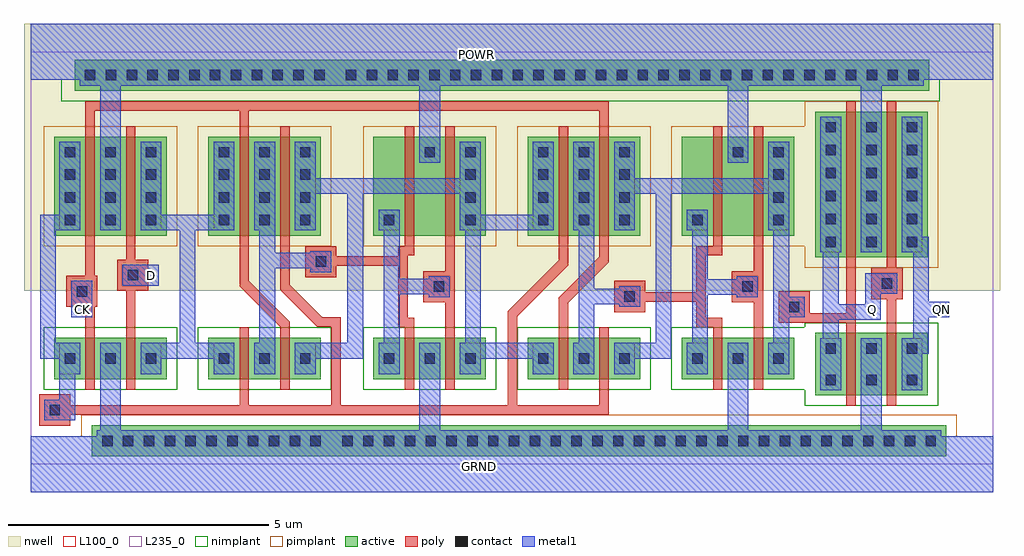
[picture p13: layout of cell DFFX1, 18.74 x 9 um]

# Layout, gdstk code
import gdstk
lib = gdstk.Library(unit=1e-6, precision=1e-09)
def R(c, l, rs):  # rectangles x0, y0, x1, y1
    for r in rs: c.add(gdstk.rectangle(r[:2], r[2:], *l))
def A(c, l, x, y, w, h, nx, ny, dx, dy):  # array of equal rectangles
    R(c, l, [(x+i*dx, y+j*dy, x+i*dx+w, y+j*dy+h) for i in range(nx) for j in range(ny)])
def P(c, l, *ps):  # polygons
    for p in ps: c.add(gdstk.Polygon(p, *l))
active = (1, 0)
nwell = (2, 0)
poly = (3, 0)
nimplant = (4, 0)
pimplant = (5, 0)
contact = (6, 0)
metal1 = (7, 0)
L100_0 = (100, 0)
L235_0 = (235, 0)

dffx1 = lib.new_cell('DFFX1')
A(dffx1, active, 15.06, 1.32, 0.6, 1.2, 3, 1, 0.78, 0)
A(dffx1, active, 0.45, 1.63, 0.6, 0.8, 3, 1, 0.78, 0)
A(dffx1, active, 3.41, 1.63, 0.6, 0.8, 3, 1, 0.78, 0)
A(dffx1, active, 6.58, 1.63, 0.6, 0.8, 3, 1, 0.78, 0)
A(dffx1, active, 9.54, 1.63, 0.6, 0.8, 3, 1, 0.78, 0)
A(dffx1, active, 12.5, 1.63, 0.6, 0.8, 3, 1, 0.78, 0)
A(dffx1, active, 15.06, 3.97, 0.6, 2.8, 3, 1, 0.78, 0)
A(dffx1, active, 0.45, 4.39, 0.6, 1.9, 3, 1, 0.78, 0)
A(dffx1, active, 3.41, 4.39, 0.6, 1.9, 3, 1, 0.78, 0)
A(dffx1, active, 6.58, 4.39, 0.6, 1.9, 3, 1, 0.78, 0)
A(dffx1, active, 9.54, 4.39, 0.6, 1.9, 3, 1, 0.78, 0)
A(dffx1, active, 12.5, 4.39, 0.6, 1.9, 3, 1, 0.78, 0)
R(dffx1, active, [(1.17,0.15,17.58,0.75), (15.66,1.32,15.84,2.52), (16.44,1.32,16.62,2.52), (1.05,1.63,1.23,2.43), (1.83,1.63,2.01,2.43), (4.01,1.63,4.19,2.43), (4.79,1.63,4.97,2.43), (7.18,1.63,7.36,2.43), (7.96,1.63,8.14,2.43), (10.14,1.63,10.32,2.43), (10.92,1.63,11.1,2.43), (13.1,1.63,13.28,2.43), (13.88,1.63,14.06,2.43), (15.66,3.97,15.84,6.77), (16.44,3.97,16.62,6.77), (1.05,4.39,1.23,6.29), (1.83,4.39,2.01,6.29), (4.01,4.39,4.19,6.29), (4.79,4.39,4.97,6.29), (7.18,4.39,7.36,6.29), (7.96,4.39,8.14,6.29), (10.14,4.39,10.32,6.29), (10.92,4.39,11.1,6.29), (13.1,4.39,13.28,6.29), (13.88,4.39,14.06,6.29), (0.84,7.17,17.25,7.77)])
R(dffx1, nwell, [(-0.13,3.33,18.61,8.46)])
R(dffx1, poly, [(15.66,1.12,15.84,1.32), (15.66,1.12,15.84,2.72), (16.44,1.12,16.62,1.32), (16.44,1.12,16.62,2.72), (1.05,1.43,1.23,2.63), (1.05,1.43,1.23,1.63), (1.83,1.43,2.01,2.63), (1.83,1.43,2.01,1.63), (4.01,1.43,4.19,2.63), (4.01,1.43,4.19,1.63), (4.79,1.43,4.97,2.63), (4.79,1.43,4.97,1.63), (7.18,1.43,7.36,2.63), (7.18,1.43,7.36,1.63), (7.96,1.43,8.14,2.63), (7.96,1.43,8.14,1.63), (10.14,1.43,10.32,2.63), (10.14,1.43,10.32,1.63), (10.92,1.43,11.1,2.63), (10.92,1.43,11.1,1.63), (13.1,1.43,13.28,2.63), (13.1,1.43,13.28,1.63), (13.88,1.43,14.06,2.63), (13.88,1.43,14.06,1.63), (1.05,2.43,1.23,2.63), (1.83,2.43,2.01,2.63), (4.01,2.43,4.19,2.63), (4.79,2.43,4.97,2.63), (7.18,2.43,7.36,2.63), (7.96,2.43,8.14,2.63), (10.14,2.43,10.32,2.63), (10.92,2.43,11.1,2.63), (13.1,2.43,13.28,2.63), (13.88,2.43,14.06,2.63), (15.66,2.52,15.84,2.72), (16.44,2.52,16.62,2.72), (14.36,2.72,14.96,3.32), (16.14,3.17,16.74,3.77), (15.66,3.77,15.84,3.97), (15.66,3.77,15.84,6.97), (16.44,3.77,16.62,3.97), (16.44,3.77,16.62,6.97), (1.05,4.19,1.23,4.39), (1.05,4.19,1.23,6.49), (1.83,4.19,2.01,4.39), (1.83,4.19,2.01,6.49), (4.01,4.19,4.19,4.39), (4.01,4.19,4.19,6.49), (4.79,4.19,4.97,4.39), (4.79,4.19,4.97,6.49), (7.18,4.19,7.36,4.39), (7.18,4.19,7.36,6.49), (7.96,4.19,8.14,4.39), (7.96,4.19,8.14,6.49), (10.14,4.19,10.32,4.39), (10.14,4.19,10.32,6.49), (10.92,4.19,11.1,4.39), (10.92,4.19,11.1,6.49), (13.1,4.19,13.28,4.39), (13.1,4.19,13.28,6.49), (13.88,4.19,14.06,4.39), (13.88,4.19,14.06,6.49), (1.05,6.29,1.23,6.49), (1.83,6.29,2.01,6.49), (4.01,6.29,4.19,6.49), (4.79,6.29,4.97,6.49), (7.18,6.29,7.36,6.49), (7.96,6.29,8.14,6.49), (10.14,6.29,10.32,6.49), (10.92,6.29,11.1,6.49), (13.1,6.29,13.28,6.49), (13.88,6.29,14.06,6.49), (15.66,6.77,15.84,6.97), (16.44,6.77,16.62,6.97)])
P(dffx1, poly, [(2.26,3.93),(2.01,3.93),(2.01,4.19),(1.83,4.19),(1.83,3.93),(1.66,3.93),(1.66,3.33),(1.83,3.33),(1.83,2.43),(2.01,2.43),(2.01,3.33),(2.26,3.33)],
  [(1.28,3.62),(1.23,3.62),(1.23,4.19),(1.05,4.19),(1.05,3.62),(0.68,3.62),(0.68,3.02),(1.05,3.02),(1.05,2.43),(1.23,2.43),(1.23,3.02),(1.28,3.02)],
  [(11.1,4.2),(10.92,4.2),(10.92,3.98),(10.14,3.2),(10.14,2.63),(10.32,2.63),(10.32,3.1),(11.1,3.88)],
  [(11.1,6.97),(1.05,6.97),(1.05,6.49),(1.23,6.49),(1.23,6.79),(4.01,6.79),(4.01,6.49),(4.19,6.49),(4.19,6.79),(10.92,6.79),(10.92,6.49),(11.1,6.49)],
  [(4.97,2.74),(4.19,3.52),(4.19,4.19),(4.01,4.19),(4.01,3.42),(4.79,2.64),(4.79,2.63),(4.8,2.63),(4.83,2.6),(4.86,2.63),(4.97,2.63)],
  [(8.14,4.19),(7.96,4.19),(7.96,3.71),(7.54,3.71),(7.54,3.11),(7.96,3.11),(7.96,2.63),(8.14,2.63)],
  [(13.28,2.81),(12.96,2.81),(12.96,4.01),(13.28,4.01),(13.28,4.19),(12.78,4.19),(12.78,3.3),(11.8,3.3),(11.8,3.52),(11.2,3.52),(11.2,2.92),(11.8,2.92),(11.8,3.12),(12.78,3.12),(12.78,2.63),(13.28,2.63)],
  [(7.36,2.81),(7.24,2.81),(7.24,4.01),(7.36,4.01),(7.36,4.19),(7.06,4.19),(7.06,3.99),(5.87,3.99),(5.87,4.19),(5.27,4.19),(5.27,3.59),(5.87,3.59),(5.87,3.81),(7.06,3.81),(7.06,2.63),(7.36,2.63)],
  [(11.1,1.43),(10.92,1.43),(10.92,1.13),(9.34,1.13),(9.34,2.84),(10.32,3.82),(10.32,4.19),(10.14,4.19),(10.14,3.92),(9.16,2.94),(9.16,1.13),(5.95,1.13),(5.95,2.82),(5.6,2.82),(4.97,3.45),(4.97,4.2),(4.79,4.2),(4.79,3.35),(5.5,2.64),(5.77,2.64),(5.77,1.13),(4.19,1.13),(4.19,1.43),(4.01,1.43),(4.01,1.13),(0.76,1.13),(0.76,1.34),(0.16,1.34),(0.16,0.74),(0.76,0.74),(0.76,0.95),(11.1,0.95)],
  [(14.06,4.19),(13.88,4.19),(13.88,3.71),(13.46,3.71),(13.46,3.11),(13.88,3.11),(13.88,2.63),(14.06,2.63)])
A(dffx1, nimplant, 6.38, 1.43, 2.56, 1.2, 3, 1, 2.96, 0)
R(dffx1, nimplant, [(14.86,1.12,17.42,2.72), (0.25,1.43,2.81,2.63), (3.21,1.43,5.77,2.63)])
P(dffx1, nimplant, [(18.48,8.46),(0,8.46),(0,7.38),(0.59,7.38),(0.59,6.97),(17.45,6.97),(17.45,7.38),(18.48,7.38)])
A(dffx1, pimplant, 6.38, 4.19, 2.56, 2.3, 3, 1, 2.96, 0)
R(dffx1, pimplant, [(14.86,3.77,17.42,6.97), (0.25,4.19,2.81,6.49), (3.21,4.19,5.77,6.49)])
P(dffx1, pimplant, [(18.48,0.54),(17.78,0.54),(17.78,0.95),(0.97,0.95),(0.97,0.54),(0,0.54),(0,-0.54),(18.48,-0.54)])
A(dffx1, contact, 1.37, 0.35, 0.2, 0.2, 11, 1, 0.4, 0)
A(dffx1, contact, 5.98, 0.35, 0.2, 0.2, 29, 1, 0.4, 0)
A(dffx1, contact, 15.26, 1.52, 0.2, 0.2, 3, 2, 0.78, 0.6)
A(dffx1, contact, 0.65, 1.93, 0.2, 0.2, 3, 2, 0.78, 2.66)
A(dffx1, contact, 3.61, 1.93, 0.2, 0.2, 3, 2, 0.78, 2.66)
A(dffx1, contact, 6.78, 1.93, 0.2, 0.2, 3, 1, 0.78, 0)
A(dffx1, contact, 9.74, 1.93, 0.2, 0.2, 3, 2, 0.78, 2.66)
A(dffx1, contact, 12.7, 1.93, 0.2, 0.2, 3, 1, 0.78, 0)
A(dffx1, contact, 15.26, 4.17, 0.2, 0.2, 3, 6, 0.78, 0.44)
A(dffx1, contact, 8.34, 4.59, 0.2, 0.2, 1, 3, 0, 0.435)
A(dffx1, contact, 14.26, 4.59, 0.2, 0.2, 1, 3, 0, 0.435)
A(dffx1, contact, 0.65, 5.025, 0.2, 0.2, 3, 2, 0.78, 0.435)
A(dffx1, contact, 3.61, 5.025, 0.2, 0.2, 3, 2, 0.78, 0.435)
A(dffx1, contact, 9.74, 5.025, 0.2, 0.2, 3, 2, 0.78, 0.435)
A(dffx1, contact, 0.65, 5.89, 0.2, 0.2, 3, 1, 0.78, 0)
A(dffx1, contact, 3.61, 5.89, 0.2, 0.2, 3, 1, 0.78, 0)
A(dffx1, contact, 9.74, 5.89, 0.2, 0.2, 3, 1, 0.78, 0)
A(dffx1, contact, 1.04, 7.37, 0.2, 0.2, 12, 1, 0.4, 0)
A(dffx1, contact, 6.05, 7.37, 0.2, 0.2, 28, 1, 0.4, 0)
R(dffx1, contact, [(0.36,0.94,0.56,1.14), (14.56,2.92,14.76,3.12), (11.4,3.12,11.6,3.32), (0.88,3.22,1.08,3.42), (7.74,3.31,7.94,3.51), (13.66,3.31,13.86,3.51), (16.34,3.37,16.54,3.57), (1.86,3.53,2.06,3.73), (5.47,3.79,5.67,3.99), (6.78,4.59,6.98,4.79), (12.7,4.59,12.9,4.79), (7.56,5.89,7.76,6.09), (8.34,5.89,8.54,6.09), (13.48,5.89,13.68,6.09), (14.26,5.89,14.46,6.09)])
R(dffx1, metal1, [(0,-0.54,18.48,0.54), (14.26,2.33,14.56,4.49), (0.78,2.82,1.18,3.52), (0.84,2.82,1.14,3.12), (14.46,2.82,14.86,3.22), (16.02,2.82,16.32,3.12), (17.34,2.82,17.64,3.12), (16.24,3.27,16.64,3.67), (1.76,3.43,2.46,3.83), (2.16,3.48,2.46,3.78), (0,7.38,18.48,8.46)])
P(dffx1, metal1, [(13.96,3.61),(13.56,3.61),(13.56,3.55),(13,3.55),(13,4.49),(12.7,4.49),(12.7,2.33),(13,2.33),(13,3.25),(13.56,3.25),(13.56,3.21),(13.96,3.21)],
  [(14.16,5.49),(11.6,5.49),(11.6,5.19),(12,5.19),(12,2.33),(11.6,2.33),(11.6,2.03),(12.3,2.03),(12.3,5.19),(14.16,5.19)],
  [(3.51,2.33),(3.16,2.33),(3.16,4.49),(3.51,4.49),(3.51,4.79),(2.51,4.79),(2.51,4.49),(2.86,4.49),(2.86,2.33),(2.51,2.33),(2.51,2.03),(3.51,2.03)],
  [(17.15,7.67),(0.94,7.67),(0.94,7.27),(1.33,7.27),(1.33,6.19),(1.73,6.19),(1.73,7.27),(7.46,7.27),(7.46,6.19),(7.86,6.19),(7.86,7.27),(13.38,7.27),(13.38,6.19),(13.78,6.19),(13.78,7.27),(15.94,7.27),(15.94,6.67),(16.34,6.67),(16.34,7.27),(17.15,7.27)],
  [(17.48,0.65),(16.34,0.65),(16.34,1.42),(15.94,1.42),(15.94,0.65),(13.78,0.65),(13.78,1.73),(13.38,1.73),(13.38,0.65),(7.86,0.65),(7.86,1.73),(7.46,1.73),(7.46,0.65),(1.73,0.65),(1.73,1.73),(1.33,1.73),(1.33,0.65),(1.27,0.65),(1.27,0.25),(17.48,0.25)],
  [(0.85,1.73),(0.55,1.73),(0.55,1.24),(0.26,1.24),(0.26,0.84),(0.85,0.84)],
  [(5.77,4.09),(5.37,4.09),(5.37,4.06),(4.69,4.06),(4.69,4.49),(4.39,4.49),(4.39,2.33),(4.69,2.33),(4.69,3.76),(5.37,3.76),(5.37,3.69),(5.77,3.69)],
  [(8.04,3.61),(7.64,3.61),(7.64,3.56),(7.08,3.56),(7.08,4.49),(6.78,4.49),(6.78,2.33),(7.08,2.33),(7.08,3.26),(7.64,3.26),(7.64,3.21),(8.04,3.21)],
  [(8.24,5.49),(5.47,5.49),(5.47,5.19),(6.08,5.19),(6.08,2.33),(5.47,2.33),(5.47,2.03),(6.38,2.03),(6.38,5.19),(8.24,5.19)],
  [(11.7,3.42),(11.3,3.42),(11.3,3.37),(10.82,3.37),(10.82,4.49),(10.52,4.49),(10.52,2.33),(10.82,2.33),(10.82,3.07),(11.3,3.07),(11.3,3.02),(11.7,3.02)])
R(dffx1, L100_0, [(15.16,1.42,15.56,2.42), (16.72,1.42,17.12,2.42), (0.55,1.73,0.95,2.33), (2.11,1.73,2.51,2.33), (3.51,1.73,3.91,2.33), (5.07,1.73,5.47,2.33), (6.68,1.73,7.08,2.33), (8.24,1.73,8.64,2.33), (9.64,1.73,10.04,2.33), (11.2,1.73,11.6,2.33), (12.6,1.73,13,2.33), (14.16,1.73,14.56,2.33), (15.16,4.07,15.56,6.67), (16.72,4.07,17.12,6.67), (0.55,4.49,0.95,6.19), (2.11,4.49,2.51,6.19), (3.51,4.49,3.91,6.19), (5.07,4.49,5.47,6.19), (6.68,4.49,7.08,4.89), (8.24,4.49,8.64,6.19), (9.64,4.49,10.04,6.19), (11.2,4.49,11.6,6.19), (12.6,4.49,13,4.89), (14.16,4.49,14.56,6.19)])
R(dffx1, L235_0, [(0,0,18.48,7.92)])
dffx1.add(gdstk.FlexPath([(15.75,3.78),(15.75,2.67)], 0.18, ends="flush", simple_path=True, layer=3, datatype=0))  # poly
dffx1.add(gdstk.FlexPath([(16.53,3.79),(16.53,2.68)], 0.18, ends="flush", simple_path=True, layer=3, datatype=0))  # poly
dffx1.add(gdstk.FlexPath([(14.96,2.81),(15.68,2.81)], 0.18, ends="flush", simple_path=True, layer=3, datatype=0))  # poly
dffx1.add(gdstk.FlexPath([(0.75,1.73),(0.75,2.33)], 0.4, ends="flush", simple_path=True, layer=7, datatype=0))  # metal1
dffx1.add(gdstk.FlexPath([(1.53,1.73),(1.53,2.33)], 0.4, ends="flush", simple_path=True, layer=7, datatype=0))  # metal1
dffx1.add(gdstk.FlexPath([(2.31,1.73),(2.31,2.33)], 0.4, ends="flush", simple_path=True, layer=7, datatype=0))  # metal1
dffx1.add(gdstk.FlexPath([(16.17,2.77),(16.17,3.67)], 0.3, ends="flush", simple_path=True, layer=7, datatype=0))  # metal1
dffx1.add(gdstk.FlexPath([(3.71,1.73),(3.71,2.33)], 0.4, ends="flush", simple_path=True, layer=7, datatype=0))  # metal1
dffx1.add(gdstk.FlexPath([(4.49,1.73),(4.49,2.33)], 0.4, ends="flush", simple_path=True, layer=7, datatype=0))  # metal1
dffx1.add(gdstk.FlexPath([(5.27,1.73),(5.27,2.33)], 0.4, ends="flush", simple_path=True, layer=7, datatype=0))  # metal1
dffx1.add(gdstk.FlexPath([(6.88,1.73),(6.88,2.33)], 0.4, ends="flush", simple_path=True, layer=7, datatype=0))  # metal1
dffx1.add(gdstk.FlexPath([(7.66,1.73),(7.66,2.33)], 0.4, ends="flush", simple_path=True, layer=7, datatype=0))  # metal1
dffx1.add(gdstk.FlexPath([(8.44,1.73),(8.44,2.33)], 0.4, ends="flush", simple_path=True, layer=7, datatype=0))  # metal1
dffx1.add(gdstk.FlexPath([(9.84,1.73),(9.84,2.33)], 0.4, ends="flush", simple_path=True, layer=7, datatype=0))  # metal1
dffx1.add(gdstk.FlexPath([(10.62,1.73),(10.62,2.33)], 0.4, ends="flush", simple_path=True, layer=7, datatype=0))  # metal1
dffx1.add(gdstk.FlexPath([(11.4,1.73),(11.4,2.33)], 0.4, ends="flush", simple_path=True, layer=7, datatype=0))  # metal1
dffx1.add(gdstk.FlexPath([(15.51,2.92),(16.03,2.92)], 0.3, ends="flush", simple_path=True, layer=7, datatype=0))  # metal1
dffx1.add(gdstk.FlexPath([(17.23,2.97),(17.64,2.97)], 0.3, ends="flush", simple_path=True, layer=7, datatype=0))  # metal1
dffx1.add(gdstk.FlexPath([(12.8,1.73),(12.8,2.33)], 0.4, ends="flush", simple_path=True, layer=7, datatype=0))  # metal1
dffx1.add(gdstk.FlexPath([(13.58,1.73),(13.58,2.33)], 0.4, ends="flush", simple_path=True, layer=7, datatype=0))  # metal1
dffx1.add(gdstk.FlexPath([(14.36,1.73),(14.36,2.33)], 0.4, ends="flush", simple_path=True, layer=7, datatype=0))  # metal1
dffx1.add(gdstk.FlexPath([(15.36,1.42),(15.36,2.42)], 0.4, ends="flush", simple_path=True, layer=7, datatype=0))  # metal1
dffx1.add(gdstk.FlexPath([(16.14,1.42),(16.14,2.42)], 0.4, ends="flush", simple_path=True, layer=7, datatype=0))  # metal1
dffx1.add(gdstk.FlexPath([(16.92,1.42),(16.92,2.42)], 0.4, ends="flush", simple_path=True, layer=7, datatype=0))  # metal1
dffx1.add(gdstk.FlexPath([(8.64,2.18),(9.64,2.18)], 0.3, ends="flush", simple_path=True, layer=7, datatype=0))  # metal1
dffx1.add(gdstk.FlexPath([(12.8,4.49),(12.8,4.89)], 0.4, ends="flush", simple_path=True, layer=7, datatype=0))  # metal1
dffx1.add(gdstk.FlexPath([(0.71,4.64),(0.33,4.64),(0.33,2.18),(0.55,2.18)], 0.3, ends="flush", simple_path=True, layer=7, datatype=0))  # metal1
dffx1.add(gdstk.FlexPath([(2.31,4.49),(2.31,6.19)], 0.4, ends="flush", simple_path=True, layer=7, datatype=0))  # metal1
dffx1.add(gdstk.FlexPath([(16.92,4.07),(16.92,6.67)], 0.4, ends="flush", simple_path=True, layer=7, datatype=0))  # metal1
dffx1.add(gdstk.FlexPath([(16.14,4.07),(16.14,6.67)], 0.4, ends="flush", simple_path=True, layer=7, datatype=0))  # metal1
dffx1.add(gdstk.FlexPath([(1.53,4.49),(1.53,6.19)], 0.4, ends="flush", simple_path=True, layer=7, datatype=0))  # metal1
dffx1.add(gdstk.FlexPath([(15.36,4.07),(15.36,6.67)], 0.4, ends="flush", simple_path=True, layer=7, datatype=0))  # metal1
dffx1.add(gdstk.FlexPath([(0.75,4.49),(0.75,6.19)], 0.4, ends="flush", simple_path=True, layer=7, datatype=0))  # metal1
dffx1.add(gdstk.FlexPath([(13.58,5.79),(13.58,6.19)], 0.4, ends="flush", simple_path=True, layer=7, datatype=0))  # metal1
dffx1.add(gdstk.FlexPath([(15.36,4.1),(15.36,2.35)], 0.3, ends="flush", simple_path=True, layer=7, datatype=0))  # metal1
dffx1.add(gdstk.FlexPath([(3.71,4.49),(3.71,6.19)], 0.4, ends="flush", simple_path=True, layer=7, datatype=0))  # metal1
dffx1.add(gdstk.FlexPath([(4.49,4.49),(4.49,6.19)], 0.4, ends="flush", simple_path=True, layer=7, datatype=0))  # metal1
dffx1.add(gdstk.FlexPath([(5.27,4.49),(5.27,6.19)], 0.4, ends="flush", simple_path=True, layer=7, datatype=0))  # metal1
dffx1.add(gdstk.FlexPath([(9.84,4.49),(9.84,6.19)], 0.4, ends="flush", simple_path=True, layer=7, datatype=0))  # metal1
dffx1.add(gdstk.FlexPath([(10.62,4.49),(10.62,6.19)], 0.4, ends="flush", simple_path=True, layer=7, datatype=0))  # metal1
dffx1.add(gdstk.FlexPath([(11.4,4.49),(11.4,6.19)], 0.4, ends="flush", simple_path=True, layer=7, datatype=0))  # metal1
dffx1.add(gdstk.FlexPath([(8.64,4.64),(9.64,4.64)], 0.3, ends="flush", simple_path=True, layer=7, datatype=0))  # metal1
dffx1.add(gdstk.FlexPath([(8.49,2.33),(8.49,4.49)], 0.3, ends="flush", simple_path=True, layer=7, datatype=0))  # metal1
dffx1.add(gdstk.FlexPath([(6.88,4.49),(6.88,4.89)], 0.4, ends="flush", simple_path=True, layer=7, datatype=0))  # metal1
dffx1.add(gdstk.FlexPath([(8.44,4.49),(8.44,6.19)], 0.4, ends="flush", simple_path=True, layer=7, datatype=0))  # metal1
dffx1.add(gdstk.FlexPath([(7.66,5.79),(7.66,6.19)], 0.4, ends="flush", simple_path=True, layer=7, datatype=0))  # metal1
dffx1.add(gdstk.FlexPath([(17.09,4.37),(17.09,2.12)], 0.3, ends="flush", simple_path=True, layer=7, datatype=0))  # metal1
dffx1.add(gdstk.FlexPath([(14.36,4.49),(14.36,6.19)], 0.4, ends="flush", simple_path=True, layer=7, datatype=0))  # metal1
dffx1.add(gdstk.Label('QN', (17.49,2.97), layer=230, texttype=0))
dffx1.add(gdstk.Label('Q', (16.17,2.97), layer=230, texttype=0))
dffx1.add(gdstk.Label('CK', (0.99,2.97), layer=230, texttype=0))
dffx1.add(gdstk.Label('D', (2.31,3.63), layer=230, texttype=0))
dffx1.add(gdstk.Label('POWR', (8.56,7.87), layer=230, texttype=0))
dffx1.add(gdstk.Label('GRND', (8.61,-0.04), layer=230, texttype=0))

lib.write_gds('DFFX1.gds')
